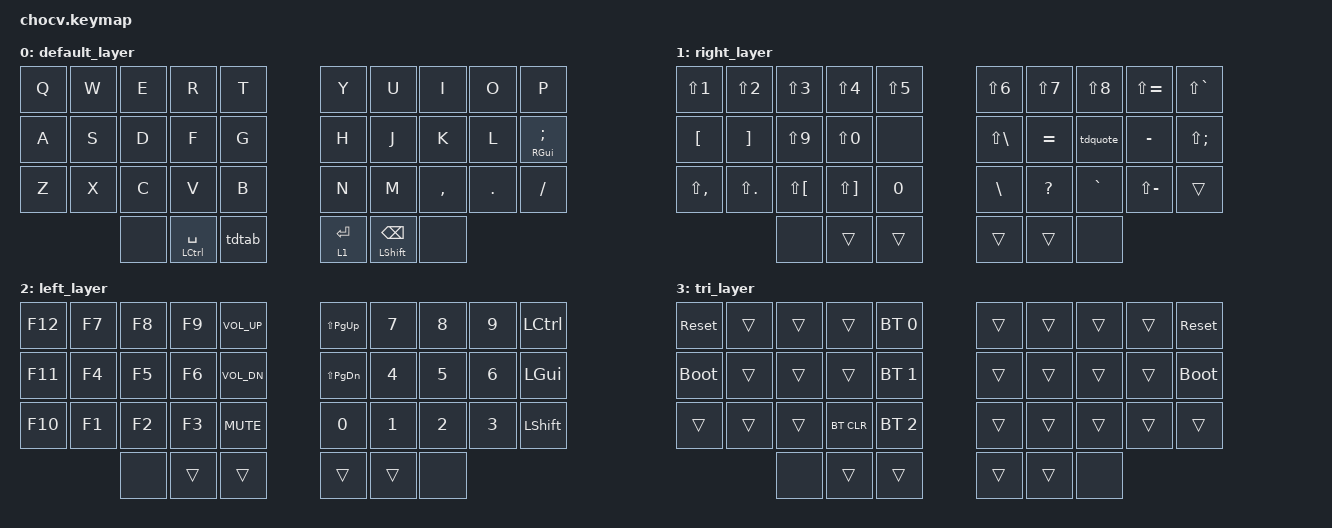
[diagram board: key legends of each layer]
// Copyright (c) 2022 The ZMK Contributors
// SPDX-License-Identifier: MIT

#include <behaviors.dtsi>
#include <dt-bindings/zmk/keys.h>
#include <dt-bindings/zmk/bt.h>

// Home row mods macro
#define HRML(k1,k2,k3,k4) &ht LSHFT k1  &ht LALT k2  &ht LCTRL k3  &ht LGUI k4
#define HRMR(k1,k2,k3,k4) &ht RGUI k1  &ht RCTRL k2  &ht RALT k3  &ht RSHFT k4

/ {
    behaviors {
        ht: hold_tap {
            compatible = "zmk,behavior-hold-tap";
            #binding-cells = <2>;
            flavor = "tap-preferred";
            tapping-term-ms = <220>;
            quick-tap-ms = <150>;
            require-prior-idle-ms = <100>;
            bindings = <&kp>, <&kp>;
        };
        tdtab: tdtab {
            compatible = "zmk,behavior-tap-dance";
            #binding-cells = <0>; 
            tapping-term-ms = <200>; 
            bindings = <&kp ESCAPE>, <&kp TAB>;
        }; 
        tdquote: tdquote {
            compatible = "zmk,behavior-tap-dance";
            #binding-cells = <0>; 
            tapping-term-ms = <200>; 
            bindings = <&kp SINGLE_QUOTE>, <&kp DOUBLE_QUOTES>;
        };
        hrmod: hrmod {
            compatible = "zmk,behavior-hold-tap";
            #binding-cells = <2>;
            flavor = "tap-preferred";
            quick-tap-ms = <200>;
            tapping-term-ms = <200>;
            require-prior-idle-ms = <125>;
            bindings = <&kp>, <&kp>;
        };
        hrmod_l: hrmod_l {
            compatible = "zmk,behavior-hold-tap";
            #binding-cells = <2>;
            flavor = "tap-preferred";
            quick-tap-ms = <200>;
            tapping-term-ms = <200>;
            require-prior-idle-ms = <80>;
            bindings = <&mo>, <&kp>;
        };
    };
    combos {
        compatible = "zmk,combos";
        combo_numbers {
            timeout-ms = <50>;
            key-positions = <30 33>;
            bindings = <&mo 2>;
        };
        combo_alt {
            timeout-ms = <50>;
            key-positions = <31 32>;
            bindings = <&mo 3>;
        };
    };

    keymap {
        compatible = "zmk,keymap";
        default_layer {
            bindings = <
        //╭──────────┬──────────┬──────────┬──────────┬──────────╮   ╭──────────┬──────────┬──────────┬──────────┬──────────╮
        //│  Q       │  W       │  E       │  R       │  T       │   │  Y       │  U       │  I       │  O       │  P       │
            &kp Q      &kp W      &kp E      &kp R      &kp T          &kp Y      &kp U      &kp I      &kp O      &kp P
        //├──────────┼──────────┼──────────┼──────────┼──────────┤   ├──────────┼──────────┼──────────┼──────────┼──────────┤
        //│  A       │  S       │  D       │  F       │  G       │   │  H       │  J       │  K       │  L       │ ' "      │
            &kp A      &kp S      &kp D      &kp F      &kp G          &kp H      &kp J      &kp K      &kp L      &hrmod RGUI SEMI
        //├──────────┼──────────┼──────────┼──────────┼──────────┤   ├──────────┼──────────┼──────────┼──────────┼──────────┤
        //│  Z       │  X       │  C       │  V       │  B       │   │  N       │  M       │ , <      │ . >      │ / ?      │
            &kp Z      &kp X      &kp C      &kp V      &kp B          &kp N      &kp M      &kp COMMA  &kp DOT    &kp FSLH
        //╰──────────┴──────────┴──────────┼──────────┼──────────┤   ├──────────┼──────────┼──────────┴──────────┴──────────╯
                                 &none        &hrmod LCTRL SPACE  &tdtab    &hrmod_l 1 ENTER &hrmod LSHIFT BACKSPACE   &none
        //                                 ╰──────────┴──────────╯   ╰──────────┴──────────╯
            >;
        };

        right_layer {
            bindings = <
        //╭──────────┬──────────┬──────────┬──────────┬──────────╮   ╭──────────┬──────────┬──────────┬──────────┬──────────╮
        //│ INSERT   │  1       │  2       │  3       │          │   │ HOME     │ PAGE DN  │ PAGE UP  │ END      │  :       │
          &kp LS(N1)  &kp LS(N2) &kp LS(N3) &kp LS(N4) &kp LS(N5)       &kp LS(N6) &kp LS(N7) &kp LS(N8) &kp LS(EQUAL) &kp LS(GRAVE)
        //├──────────┼──────────┼──────────┼──────────┼──────────┤   ├──────────┼──────────┼──────────┼──────────┼──────────┤
        //│ DELETE   │  4       │  5       │  6       │          │   │ LEFT     │ DOWN     │ UP       │ RIGHT    │  ;       │
            &kp LBKT   &kp RBKT  &kp LS(N9) &kp LS(N0) &none         &kp LS(BSLH) &kp EQUAL  &tdquote  &kp MINUS  &kp LS(SEMI)
        //├──────────┼──────────┼──────────┼──────────┼──────────┤   ├──────────┼──────────┼──────────┼──────────┼──────────┤
        //│ CAPS     │  7       │  8       │  9       │  0       │   │          │          │          │          │          │
        &kp LS(COMMA) &kp LS(DOT) &kp LS(LBKT) &kp LS(RBKT) &kp N0   &kp BSLH   &kp QMARK  &kp GRAVE &kp LS(MINUS)     &trans
        //╰──────────┴──────────┴──────────┼──────────┼──────────┤   ├──────────┼──────────┼──────────┴──────────┴──────────╯
                                  &none       &trans     &trans        &trans     &trans   &none  
        //                                 ╰──────────┴──────────╯   ╰──────────┴──────────╯
            >;
        };

        left_layer {
            bindings = <
        //╭──────────┬──────────┬──────────┬──────────┬──────────╮   ╭──────────┬──────────┬──────────┬──────────┬──────────╮
        //│          │  [       │  {       │  }       │          │   │  ^       │  (       │  )       │  ]       │  ~       │
            &kp F12    &kp F7     &kp F8     &kp F9     &kp C_VOL_UP   &kp LS(PG_UP) &kp N7  &kp N8     &kp N9     &kp LCTRL
        //├──────────┼──────────┼──────────┼──────────┼──────────┤   ├──────────┼──────────┼──────────┼──────────┼──────────┤
        //│  !       │  @       │  #       │  $       │  %       │   │  *       │  -       │  =       │  \       │  `       │
            &kp F11    &kp F4     &kp F5     &kp F6     &kp C_VOL_DN   &kp LS(PG_DN) &kp N4  &kp N5     &kp N6     &kp LGUI
        //├──────────┼──────────┼──────────┼──────────┼──────────┤   ├──────────┼──────────┼──────────┼──────────┼──────────┤
        //│          │          │          │          │          │   │  &       │  _       │  +       │  │       │          │
            &kp F10    &kp F1     &kp F2     &kp F3     &kp K_MUTE     &kp N0     &kp N1     &kp N2     &kp N3     &kp LSHIFT
        //╰──────────┴──────────┴──────────┼──────────┼──────────┤   ├──────────┼──────────┼──────────┴──────────┴──────────╯
                                  &none      &trans     &trans         &trans     &trans  &none
        //                                 ╰──────────┴──────────╯   ╰──────────┴──────────╯
            >;
        };

        tri_layer {
            bindings = <
        //╭──────────┬──────────┬──────────┬──────────┬──────────╮   ╭──────────┬──────────┬──────────┬──────────┬──────────╮
        //│ RESET    │          │          │          │PROFILE 0 │   │          │          │          │          │  RESET   │
           &sys_reset  &trans     &trans     &trans    &bt BT_SEL 0    &trans     &trans     &trans     &trans    &sys_reset
        //├──────────┼──────────┼──────────┼──────────┼──────────┤   ├──────────┼──────────┼──────────┼──────────┼──────────┤
        //│BOOTLOADER│          │          │          │PROFILE 1 │   │          │          │          │          │BOOTLOADER│
          &bootloader  &trans     &trans     &trans    &bt BT_SEL 1    &trans     &trans     &trans     &trans    &bootloader
        //├──────────┼──────────┼──────────┼──────────┼──────────┤   ├──────────┼──────────┼──────────┼──────────┼──────────┤
        //│          │          │          │ CLEAR BT │PROFILE 2 │   │          │          │          │          │          │
            &trans     &trans     &trans    &bt BT_CLR &bt BT_SEL 2    &trans     &trans     &trans     &trans     &trans
        //╰──────────┴──────────┴──────────┼──────────┼──────────┤   ├──────────┼──────────┼──────────┴──────────┴──────────╯
                                  &none     &trans     &trans         &trans     &trans  &none
        //                                 ╰──────────┴──────────╯   ╰──────────┴──────────╯
            >;
        };
    };
};
